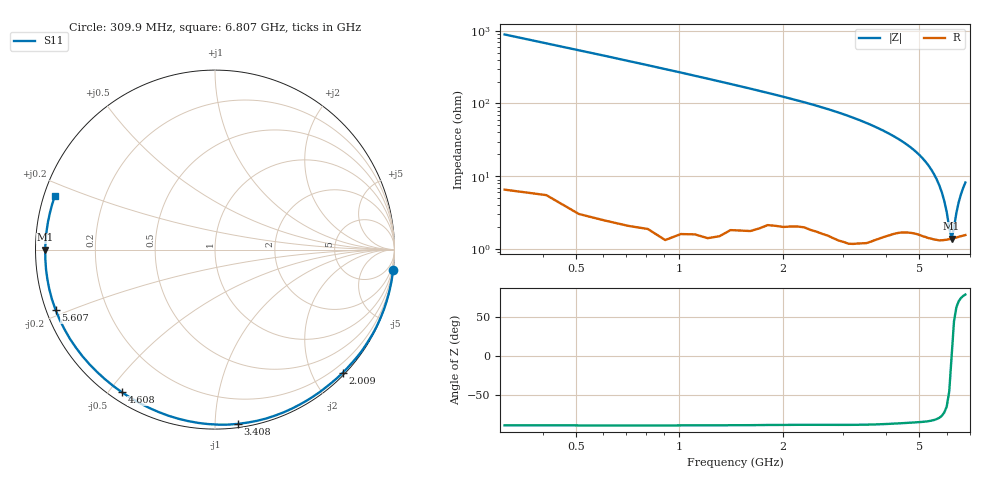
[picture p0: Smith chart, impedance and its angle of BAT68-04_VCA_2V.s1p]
! Infineon Technologies  Discrete & RF Semiconductors
! BAT68-04
! VCA = 2 V
! One-Port S-Parameters
# Hz  S  MA  R  50
!f  S11
!Hz  Mag  Ang
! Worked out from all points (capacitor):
!   66 points, 309.9 MHz to 6.807 GHz, reference 50 ohm
!   read as one part to ground: C = 577 fF near 309.9 MHz
!   lowest |Z| = 1.38 ohm at 6.207 GHz (marker M1)
!   series resonance near 6.207 GHz, so ESL is about 1.1 nH
!   S11 on the Smith chart (normalised r, x): 309.9 MHz: 0, -18; 2.009 GHz: 0.04, -2.47; 3.408 GHz: 0.02, -1.14; 4.608 GHz: 0.03, -0.54; 5.607 GHz: 0.03, -0.18; 6.807 GHz: 0.03, +0.16
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3.0985e8  0.9992 -6.5
6.097e8  0.9988 -12.7
8.096e8  0.9984 -17.0
1.0095e9  0.9978 -21.3
1.2094e9  0.9972 -25.7
1.6092e9  0.9937 -34.7
2.009e9  0.9887 -44.1
2.30885e9  0.9852 -51.3
2.50875e9  0.9846 -56.4
2.8086e9  0.984 -64.5
3.10845e9  0.9833 -73.2
3.4083e9  0.9794 -82.5
3.6082e9  0.9755 -88.9
3.8081e9  0.9701 -95.6
4.008e9  0.9641 -102.3
4.2079e9  0.958 -109.2
4.4078e9  0.9526 -116.1
4.6077e9  0.9491 -123.2
4.90755e9  0.9469 -133.9
5.10745e9  0.9478 -141.1
5.2074e9  0.948 -144.8
5.4073e9  0.9487 -152.1
5.6072e9  0.9494 -159.3
5.8071e9  0.9492 -166.4
6.007e9  0.9478 -173.3
6.2069e9  0.9461 -180.0
6.50675e9  0.9432 170.5
6.8066e9  0.941 161.7
